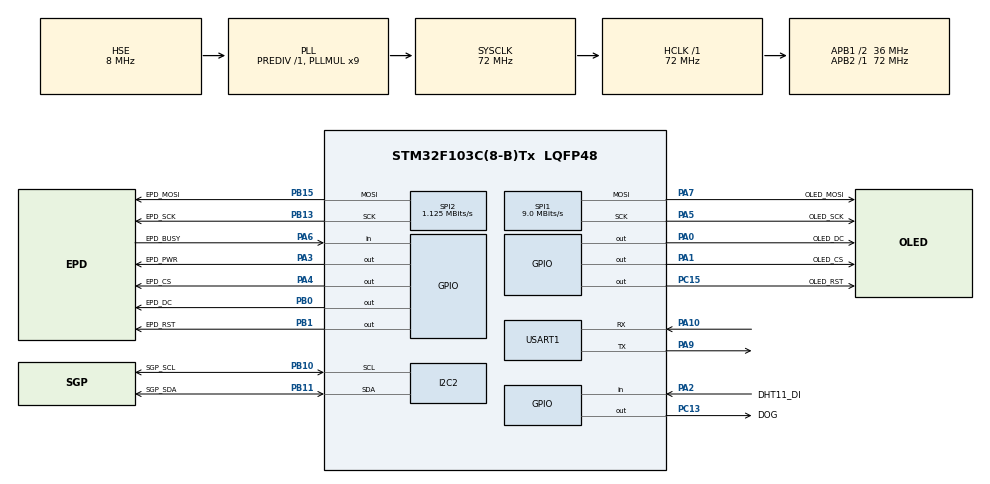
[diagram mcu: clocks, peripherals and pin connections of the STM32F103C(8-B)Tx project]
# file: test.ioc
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Mcu.Family=STM32F1
Mcu.Name=STM32F103C(8-B)Tx
Mcu.Package=LQFP48
NVIC.PriorityGroup=NVIC_PRIORITYGROUP_4
PA0-WKUP.GPIO_Label=OLED_DC
PA0-WKUP.Signal=GPIO_Output
PA1.GPIO_Label=OLED_CS
PA1.Signal=GPIO_Output
PA10.Mode=Asynchronous
PA10.Signal=USART1_RX
PA13.Mode=Serial_Wire
PA13.Signal=SYS_JTMS-SWDIO
PA14.Mode=Serial_Wire
PA14.Signal=SYS_JTCK-SWCLK
PA2.GPIO_Label=DHT11_DI
PA2.Signal=GPIO_Input
PA3.GPIO_Label=EPD_PWR
PA3.Signal=GPIO_Output
PA4.GPIO_Label=EPD_CS
PA4.Signal=GPIO_Output
PA5.GPIO_Label=OLED_SCK
PA5.Mode=TX_Only_Simplex_Unidirect_Master
PA5.Signal=SPI1_SCK
PA6.GPIO_Label=EPD_BUSY
PA6.Signal=GPIO_Input
PA7.GPIO_Label=OLED_MOSI
PA7.Mode=TX_Only_Simplex_Unidirect_Master
PA7.Signal=SPI1_MOSI
PA9.Mode=Asynchronous
PA9.Signal=USART1_TX
PB0.GPIO_Label=EPD_DC
PB0.Signal=GPIO_Output
PB1.GPIO_Label=EPD_RST
PB1.Signal=GPIO_Output
PB10.GPIO_Label=SGP_SCL
PB10.Mode=I2C
PB10.Signal=I2C2_SCL
PB11.GPIO_Label=SGP_SDA
PB11.Mode=I2C
PB11.Signal=I2C2_SDA
PB13.GPIO_Label=EPD_SCK
PB13.Mode=TX_Only_Simplex_Unidirect_Master
PB13.Signal=SPI2_SCK
PB15.GPIO_Label=EPD_MOSI
PB15.Mode=TX_Only_Simplex_Unidirect_Master
PB15.Signal=SPI2_MOSI
PC13-TAMPER-RTC.GPIO_Label=DOG
PC13-TAMPER-RTC.Signal=GPIO_Output
PC15-OSC32_OUT.GPIO_Label=OLED_RST
PC15-OSC32_OUT.Signal=GPIO_Output
PD0-OSC_IN.Mode=HSE-External-Oscillator
PD0-OSC_IN.Signal=RCC_OSC_IN
PD1-OSC_OUT.Mode=HSE-External-Oscillator
PD1-OSC_OUT.Signal=RCC_OSC_OUT
ProjectManager.HeapSize=0x400
ProjectManager.StackSize=0x4000
ProjectManager.TargetToolchain=MDK-ARM V5
RCC.AHBFreq_Value=72000000
RCC.APB1CLKDivider=RCC_HCLK_DIV2
RCC.APB1Freq_Value=36000000
RCC.APB1TimFreq_Value=72000000
RCC.APB2Freq_Value=72000000
RCC.APB2TimFreq_Value=72000000
RCC.HCLKFreq_Value=72000000
RCC.PLLMUL=RCC_PLL_MUL9
RCC.PLLSourceVirtual=RCC_PLLSOURCE_HSE
RCC.SYSCLKFreq_VALUE=72000000
RCC.SYSCLKSource=RCC_SYSCLKSOURCE_PLLCLK
RCC.USBFreq_Value=72000000
SPI1.BaudRatePrescaler=SPI_BAUDRATEPRESCALER_8
SPI1.CLKPhase=SPI_PHASE_2EDGE
SPI1.CLKPolarity=SPI_POLARITY_HIGH
SPI1.CalculateBaudRate=9.0 MBits/s
SPI1.Direction=SPI_DIRECTION_2LINES
SPI1.Mode=SPI_MODE_MASTER
SPI1.VirtualType=VM_MASTER
SPI2.BaudRatePrescaler=SPI_BAUDRATEPRESCALER_32
SPI2.CalculateBaudRate=1.125 MBits/s
SPI2.Direction=SPI_DIRECTION_2LINES
SPI2.Mode=SPI_MODE_MASTER
SPI2.VirtualType=VM_MASTER
TIM2.Prescaler=72
USART1.VirtualMode=VM_ASYNC
VP_TIM2_VS_ClockSourceINT.Mode=Internal
board=custom

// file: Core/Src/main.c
/* USER CODE BEGIN Header */
/**
  ******************************************************************************
  * @file           : main.c
  * @brief          : Main program body
  ******************************************************************************
  * @attention
  *
  * Copyright (c) 2024 STMicroelectronics.
  * All rights reserved.
  *
  * This software is licensed under terms that can be found in the LICENSE file
  * in the root directory of this software component.
  * If no LICENSE file comes with this software, it is provided AS-IS.
  *
  ******************************************************************************
  */
/* USER CODE END Header */
#include "main.h"
#include "i2c.h"
#include "spi.h"
#include "tim.h"
#include "usart.h"
#include "gpio.h"

/* USER CODE BEGIN Includes */
#include "dht11.h"
#include "sgp30.h"
#include "stdio.h"
#include "string.h"
#ifdef OLED_ENABLE
#include "oled.h"
#endif
#ifdef EPD_ENABLE
#include "epaper.h"
#include "DEV_Config.h"
#endif

/* USER CODE END Includes */

void SystemClock_Config(void);

int main(void)
{

  /* MCU Configuration--------------------------------------------------------*/

  /* Reset of all peripherals, Initializes the Flash interface and the Systick. */
  HAL_Init();

  /* Configure the system clock */
  SystemClock_Config();

  /* Initialize all configured peripherals */
  MX_GPIO_Init();
  MX_USART1_UART_Init();
  MX_TIM2_Init();
  MX_SPI1_Init();
  MX_SPI2_Init();
  MX_I2C2_Init();
  /* USER CODE BEGIN 2 */
#ifdef OLED_ENABLE
	u8g2_t u8g2;
	u8g2Init(&u8g2);
#endif
#ifdef EPD_ENABLE
	DEV_Module_Init();
#endif

	sgp30_init();
  int displayN = 0;
  int display_interval = 60;
	sgp30_data_t sgp30_data;
  uint32_t sgp30_data_co2 = 0;
  uint32_t sgp30_data_tvoc = 0;

	dht11_data_t dht11Data;

  /* USER CODE END 2 */

  /* Infinite loop */
  while (1)
  {

    /* USER CODE BEGIN 3 */
		//HAL_UART_Transmit(&huart1,(uint8_t *)"hello world!\r\n",14,HAL_MAX_DELAY);
		HAL_GPIO_TogglePin(DOG_GPIO_Port,DOG_Pin);

		sgp30_data_t sgp30_data_tmp = sgp30_read();
		printf("co2=%d,tvoc=%d,",sgp30_data_tmp.co2,sgp30_data_tmp.tvoc);// ppm mg/m3, ppd mg/m3
    sgp30_data_co2 += sgp30_data_tmp.co2;
		sgp30_data_tvoc += sgp30_data_tmp.tvoc;

		dht11Data = DHT11_REC_Data();
		printf("temp=%d.%d,tz=%d.%d",dht11Data.temp_H,dht11Data.temp_L,dht11Data.rh_H,dht11Data.rh_L);
		printf("\r\n");

		displayN++;

		if(displayN == display_interval)
		{
      sgp30_data.co2 = sgp30_data_co2 / display_interval;
			sgp30_data.tvoc = sgp30_data_tvoc / display_interval;
#ifdef OLED_ENABLE
		myDraw_pic(&u8g2);
		HAL_Delay(1000);
		myDraw_o(&u8g2, &sgp30_data, &dht11Data);
#endif

#ifdef EPD_ENABLE
		#ifdef EPD_2IN9
		EPD_2in9_aqi(&sgp30_data, &dht11Data);
		#endif

		#ifdef EPD_2IN9BC
		//EPD_test_2in9bc();
		EPD_2in9bc_aqi(&sgp30_data, &dht11Data);
		#endif

		#ifdef EPD_4IN2BC
		EPD_test_4in2bc();
		#endif
#endif
      displayN = 0;
      sgp30_data_co2 = 0;
      sgp30_data_tvoc = 0;
    }

		HAL_Delay(1000);
  }
  /* USER CODE END 3 */
}

void SystemClock_Config(void)
{
  RCC_OscInitTypeDef RCC_OscInitStruct = {0};
  RCC_ClkInitTypeDef RCC_ClkInitStruct = {0};

  /** Initializes the RCC Oscillators according to the specified parameters
  * in the RCC_OscInitTypeDef structure.
  */
  RCC_OscInitStruct.OscillatorType = RCC_OSCILLATORTYPE_HSE;
  RCC_OscInitStruct.HSEState = RCC_HSE_ON;
  RCC_OscInitStruct.HSEPredivValue = RCC_HSE_PREDIV_DIV1;
  RCC_OscInitStruct.HSIState = RCC_HSI_ON;
  RCC_OscInitStruct.PLL.PLLState = RCC_PLL_ON;
  RCC_OscInitStruct.PLL.PLLSource = RCC_PLLSOURCE_HSE;
  RCC_OscInitStruct.PLL.PLLMUL = RCC_PLL_MUL9;
  if (HAL_RCC_OscConfig(&RCC_OscInitStruct) != HAL_OK)
  {
    Error_Handler();
  }

  /** Initializes the CPU, AHB and APB buses clocks
  */
  RCC_ClkInitStruct.ClockType = RCC_CLOCKTYPE_HCLK|RCC_CLOCKTYPE_SYSCLK
                              |RCC_CLOCKTYPE_PCLK1|RCC_CLOCKTYPE_PCLK2;
  RCC_ClkInitStruct.SYSCLKSource = RCC_SYSCLKSOURCE_PLLCLK;
  RCC_ClkInitStruct.AHBCLKDivider = RCC_SYSCLK_DIV1;
  RCC_ClkInitStruct.APB1CLKDivider = RCC_HCLK_DIV2;
  RCC_ClkInitStruct.APB2CLKDivider = RCC_HCLK_DIV1;

  if (HAL_RCC_ClockConfig(&RCC_ClkInitStruct, FLASH_LATENCY_2) != HAL_OK)
  {
    Error_Handler();
  }
}

void Error_Handler(void)
{
  __disable_irq();
  while (1)
  {
  }
}
